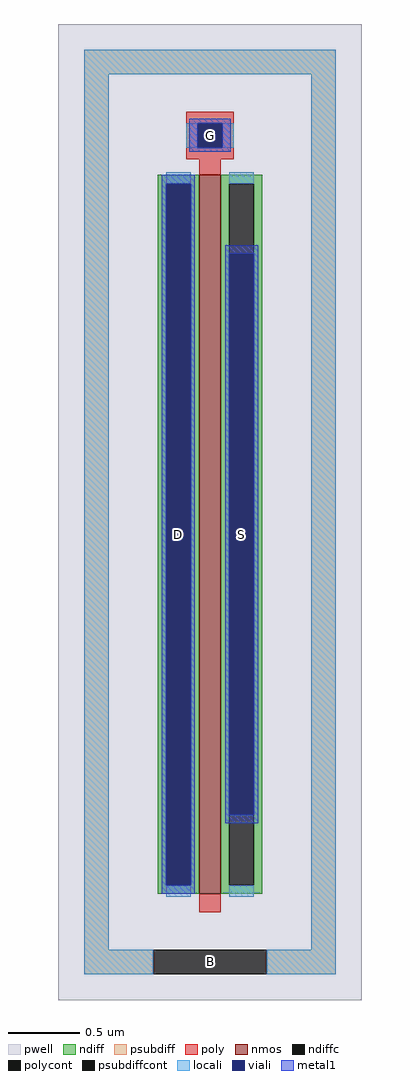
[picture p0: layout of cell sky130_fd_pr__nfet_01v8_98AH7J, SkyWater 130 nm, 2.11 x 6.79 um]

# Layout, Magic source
magic
tech sky130A
magscale 1 2
<< pwell >>
rect -211 -679 211 679
<< nmos >>
rect -15 -531 15 469
<< ndiff >>
rect -73 457 -15 469
rect -73 -519 -61 457
rect -27 -519 -15 457
rect -73 -531 -15 -519
rect 15 457 73 469
rect 15 -519 27 457
rect 61 -519 73 457
rect 15 -531 73 -519
<< ndiffc >>
rect -61 -519 -27 457
rect 27 -519 61 457
<< psubdiff >>
rect -175 609 175 643
rect -175 -609 -141 609
rect 141 -609 175 609
rect -175 -643 -79 -609
rect 79 -643 175 -609
<< psubdiffcont >>
rect -79 -643 79 -609
<< poly >>
rect -33 541 33 557
rect -33 507 -17 541
rect 17 507 33 541
rect -33 491 33 507
rect -15 469 15 491
rect -15 -557 15 -531
<< polycont >>
rect -17 507 17 541
<< locali >>
rect -175 609 175 643
rect -175 -609 -141 609
rect -33 507 -17 541
rect 17 507 33 541
rect -61 457 -27 473
rect -61 -535 -27 -519
rect 27 457 61 473
rect 27 -535 61 -519
rect 141 -609 175 609
rect -175 -643 -79 -609
rect 79 -643 175 -609
<< viali >>
rect -17 507 17 541
rect -61 -519 -27 457
rect 27 -421 61 359
<< metal1 >>
rect -29 541 29 547
rect -29 507 -17 541
rect 17 507 29 541
rect -29 501 29 507
rect -67 457 -21 469
rect -67 -519 -61 457
rect -27 -519 -21 457
rect 21 359 67 371
rect 21 -421 27 359
rect 61 -421 67 359
rect 21 -433 67 -421
rect -67 -531 -21 -519
<< labels >>
rlabel psubdiffcont 0 -626 0 -626 0 B
port 1 nsew
rlabel ndiffc -44 -31 -44 -31 0 D
port 2 nsew
rlabel ndiffc 44 -31 44 -31 0 S
port 3 nsew
rlabel polycont 0 524 0 524 0 G
port 4 nsew
<< properties >>
string FIXED_BBOX -158 -626 158 626
string gencell sky130_fd_pr__nfet_01v8
string library sky130
string parameters w 5 l 0.150 m 1 nf 1 diffcov 100 polycov 100 guard 1 glc 0 grc 0 gtc 0 gbc 1 tbcov 100 rlcov 100 topc 1 botc 0 poverlap 0 doverlap 1 lmin 0.15 wmin 0.42 class mosfet compatible {sky130_fd_pr__nfet_01v8 sky130_fd_pr__nfet_01v8_lvt  sky130_fd_bs_flash__special_sonosfet_star  sky130_fd_pr__nfet_g5v0d10v5 sky130_fd_pr__nfet_05v0_nvt  sky130_fd_pr__nfet_03v3_nvt} full_metal 1 viasrc 80 viadrn 100 viagate 100 viagb 0 viagr 0 viagl 0 viagt 0 doports 1
<< end >>
